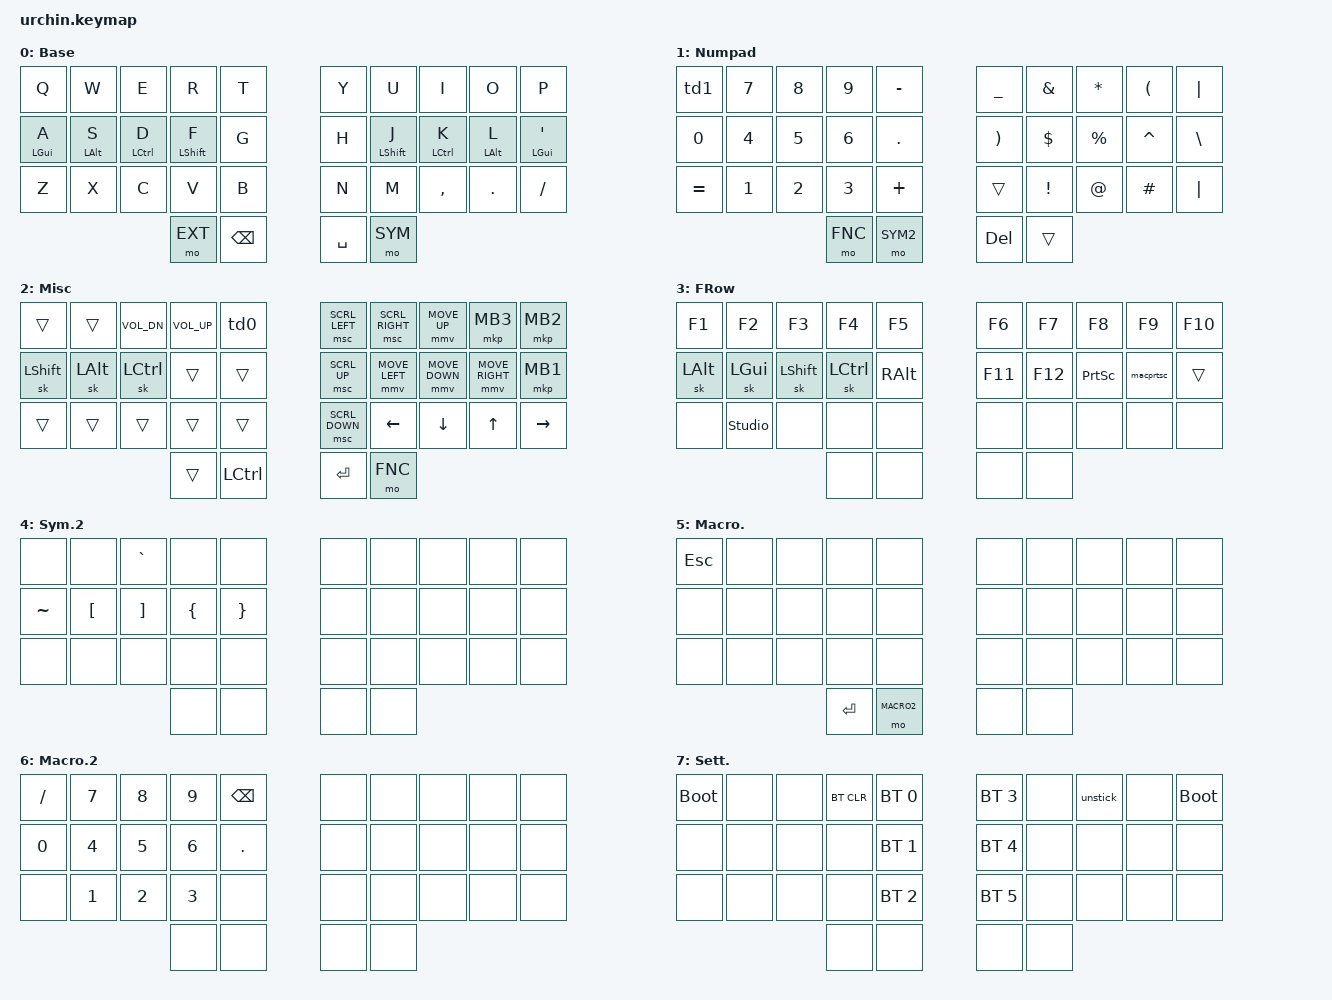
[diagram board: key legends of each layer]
/*
 * Copyright (c) 2020 duckyb
 *
 * SPDX-License-Identifier: MIT
 */

// define mouse movement
#define ZMK_POINTING_DEFAULT_MOVE_VAL 1500
#define ZMK_POINTING_DEFAULT_SCRL_VAL 20
#include <behaviors.dtsi>
#include <dt-bindings/zmk/keys.h>
#include <dt-bindings/zmk/bt.h>
#include <dt-bindings/zmk/outputs.h>
#include <dt-bindings/zmk/pointing.h>

// Layer definitions
#define BASE 0
#define SYM 1
#define EXT 2
#define FNC 3
#define SYM2 4
#define MACRO 5
#define MACRO2 6
#define SETTINGS 7
// -----------------

&sk {
	// don't release mods on other mods presses
	ignore-modifiers;
};


/ {
	behaviors {
		// Enables holding the first mod-tap key
		// by performing a tap-release-hold sequence.
		// To use it: "&qt KEYCODE1 KEYCODE2"
		qt: quick_tap {
			compatible = "zmk,behavior-hold-tap";
			label = "QUICK_TAP";
			#binding-cells = <2>;
			flavor = "tap-preferred";
			tapping-term-ms = <200>;
			quick-tap-ms = <175>;
			bindings = <&kp>, <&kp>;
		};
	};
		
		//TAPDANCE CONFIG---------------------------------
		//media control
	tapdance {
		td0: tap_dance_0 {
		    compatible = "zmk,behavior-tap-dance";
		    #binding-cells = <0>;
		    tapping-term-ms = <200>;
		    bindings = <&kp C_PP>, <&kp C_NEXT>, <&kp C_PREV>;
		};
		//grave and tilde
		td1: tap_dance_1 {
		    compatible = "zmk,behavior-tap-dance";
		    #binding-cells = <0>;
		    tapping-term-ms = <200>;
		    bindings = <&kp GRAVE>, <&kp TILDE>;
		};
	};

	macros {
		// sometimes my device thinks a modifier is being held down
		// pressing all modifiers fixes it.
		unstick: unstick {
			label = "ZM_unstick";
			compatible = "zmk,behavior-macro";
			#binding-cells = <0>;
			bindings = <&kp LSHIFT &kp RSHIFT &kp LCTRL &kp RCTRL &kp LALT &kp RALT &kp LGUI &kp RGUI>;
		};
		//screen grab shortcut for macOS
		macprtsc: macprtsc {
			label = "mac_ss";
			compatible = "zmk,behavior-macro";
			#binding-cells = <0>;
			bindings = <&kp LSHIFT>, <&kp LCTRL>, <&kp LGUI>, <&kp N4>;
	};

	combos {
		compatible = "zmk,combos";
		// both right thumb keys
		combo_settings {
			timeout-ms = <200>;
			key-positions = <32 33>;
			bindings = <&mo SETTINGS>;
		};
		// internal-left & external-right thumb keys
		combo_sym2 {
			timeout-ms = <200>;
			key-positions = <31 33>;
			bindings = <&mo SYM2>;
		};
		// both left thumb keys
		combo_macro {
			timeout-ms = <200>;
			key-positions = <30 31>;
			bindings = <&tog MACRO>;
		};
		//KEYPRESSES--------------------------------------
		//the 2 lower right keys for enter
		combo_ent {
		    timeout-ms = <50>;
		    key-positions = <28 29>;
		    bindings = <&kp ENTER>;
		};
		//press , and . for tab
		combo_tab {
		    timeout-ms = <50>;
		    key-positions = <27 28>;
		    bindings = <&kp TAB>;
		};
		//colon and semi colon
		combo_semicolon {
		    timeout-ms = <50>;
		    key-positions = <6 7>;
		    bindings = <&kp SEMI>;
		};
		combo_colon {
		    timeout-ms = <50>;
		    key-positions = <7 8>;
		    bindings = <&kp COLON>;
		};
		//top left two trigger esc
		combo_esc {
		    timeout-ms = <50>;
		    key-positions = <0 1>;
		    bindings = <&kp ESC>;
		};
	    };
		
	};

	keymap {
		compatible = "zmk,keymap";
	// Base alpha layer
		default_layer {
			label = "Base";
			bindings = <
			&kp Q &kp W &kp E       &kp R &kp T           &kp Y &kp U  &kp I     &kp O   &kp P 
			&qt LGUI A &qt LALT S &qt LCTRL D &qt LSHIFT F &kp G           &kp H &qt LSHIFT J  &qt LCTRL K &qt LALT L &qt LGUI SQT
			&kp Z &kp X &kp C       &kp V &kp B           &kp N &kp M  &kp COMMA &kp DOT &kp SLASH
				&mo EXT &kp BSPC                    &kp SPACE &mo SYM
			>;
		};

	// Numbers and high frequency symbols
		sym_layer {
			label = "Numpad";
			bindings = <
			&td1   &kp N7 &kp N8 &kp N9 &kp MINUS     	&kp UNDER &kp AMPS &kp ASTERISK &kp LPAR &kp PIPE
			&kp N0 &kp N4 &kp N5 &kp N6 &kp DOT		&kp RPAR &kp DOLLAR &kp PERCENT &kp CARET &kp BSLH
			&kp EQUAL &kp N1 &kp N2 &kp N3 &kp PLUS 	&trans &kp EXCL &kp AT &kp HASH &kp PIPE
						&mo FNC  &mo SYM2       &kp DEL &trans
			>;
		};

	// Main modifiers and arrow keys
		ext_layer {
			label = "Misc";
			bindings = <
			&trans  &trans &kp C_VOL_DN &kp C_VOL_UP  &td0		&msc SCRL_LEFT &msc SCRL_RIGHT &mmv MOVE_UP &mkp MB3 &mkp MB2
			&sk LSHIFT &sk LALT  &sk LCTRL  &trans &trans 		&msc SCRL_UP &mmv MOVE_LEFT &mmv MOVE_DOWN &mmv MOVE_RIGHT &mkp MB1
			&trans &trans &trans &trans &trans		&msc SCRL_DOWN &kp LEFT &kp DOWN &kp UP &kp RIGHT
						&trans &kp LCTRL    		&kp ENTER &mo FNC 
			>;
		};

  	// Function keys with modifiers
		fnc_layer {
			label = "FRow";
			bindings = <
			&kp F1 &kp F2 &kp F3 &kp F4 &kp F5                  &kp F6 &kp F7 &kp F8 &kp F9 &kp F10 
			&sk LALT &sk LGUI &sk LSHIFT &sk LCTRL &kp RALT     &kp F11 &kp F12  &kp PRINTSCREEN &macprtsc &trans
			&none &studio_unlock &none &none &none			    &none &none &none &none &none 
							  &none &none       &none &none  
			>;
		};

	// Low frequency symbols.
		symbols_2_layer {
			label = "Sym.2";
			bindings = <
			&none &none &kp GRAVE &none &none			&none &none &none &none &none 
			&kp TILDE &kp LBKT &kp RBKT &kp LBRC &kp RBRC    	&none &none &none &none &none
			&none &none &none &none &none				&none &none &none &none &none
							&none &none     	&none &none 
			>;
		};

	// Macro layer is currently being used to type CAD software commands.
		macro_layer {
			label = "Macro.";
			bindings = <
			&kp ESCAPE &none &none &none &none                              &none &none &none &none &none 
			&none &none &none &none &none	             		 	&none &none &none &none &none
			&none &none &none &none &none					&none &none &none &none &none
					  		&kp ENTER &mo MACRO2     	&none &none 
			>;
		};

	// Low frequency macros for CAD and number pad.
		macro_2_layer {
			label = "Macro.2";
			bindings = <
			&kp SLASH &kp N7 &kp N8 &kp N9 &kp BSPC		&none &none &none &none &none 
			&kp N0 &kp N4 &kp N5 &kp N6 &kp DOT		&none &none &none &none &none
			&none &kp N1 &kp N2 &kp N3 &none		&none &none &none &none &none
					 	 	&none &none     &none &none 
			>;
		};

	// Used to change the keyboard's settings.
		settings_layer {
				label = "Sett.";
				bindings = <
				&bootloader &none &none &bt BT_CLR &bt BT_SEL 0		&bt BT_SEL 3 &none &unstick &none &bootloader 
				&none &none &none &none      &bt BT_SEL 1 		&bt BT_SEL 4 &none &none &none &none
				&none &none &none &none      &bt BT_SEL 2               &bt BT_SEL 5 &none &none &none &none
								&none &none             &none &none 
				>;
		};
	};
};
